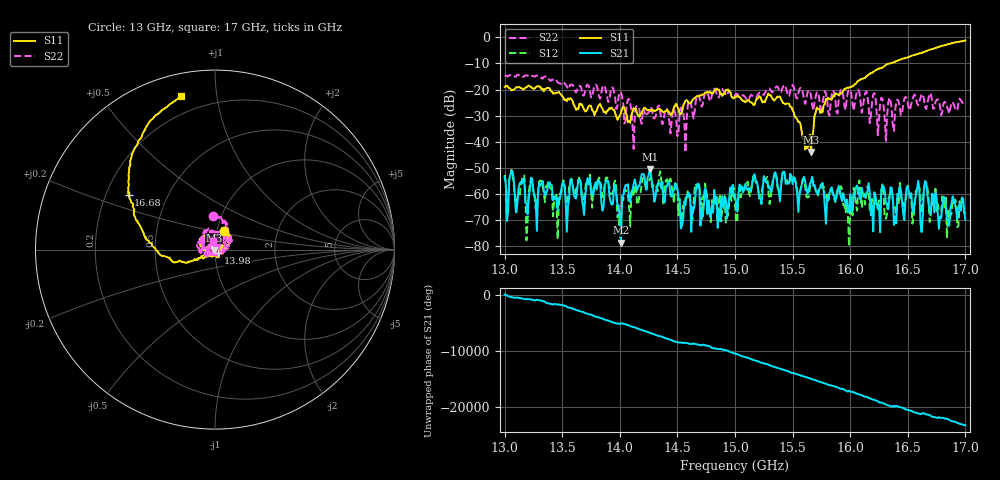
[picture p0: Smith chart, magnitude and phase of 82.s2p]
!Keysight Technologies,P9374A,MY57211807,A.19.30.04
!Date: Friday, May 01, 2026 14:28:51
!Correction: S11(C  2-Port  )
!S21(C  2-Port  )
!S12(C  2-Port  )
!S22(C  2-Port  )
!S2P File: Measurements: S11, S21, S12, S22:
# Hz S  RI  R 50
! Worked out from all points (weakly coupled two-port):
!   401 points, 13 GHz to 17 GHz, reference 50 ohm
!   highest |S21| = -50.67 dB at 14.26 GHz (marker M1); lowest = -78.8 dB at 14.01 GHz (marker M2)
!   lowest |S11| = -43.9 dB at 15.66 GHz (marker M3), VSWR 1.01, Z = 49.4 - j0.192 ohm
!   |S11| at or under -10 dB: start of sweep to 16.34 GHz
!   |S22| runs from -44.1 to -14.3 dB; largest |S21 - S12| = 0.0011
!   S11 on the Smith chart (normalised r, x): 13 GHz: 1.08, +0.22; 13.98 GHz: 1.03, -0.04; 16.68 GHz: 0.30, +0.27; 17 GHz: 0.11, +0.80
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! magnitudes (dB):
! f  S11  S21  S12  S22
! 13 GHz  -18.9  -53.6  -52.8  -14.5
! 13.16 GHz  -20.0  -54.5  -53.4  -15.2
! 13.2 GHz  -18.7  -67.9  -70.4  -14.7
! 13.39 GHz  -19.5  -55.6  -57.5  -16.3
! 13.44 GHz  -21.5  -62.0  -61.3  -15.9
! 13.67 GHz  -25.7  -61.7  -60.1  -20.1
! 13.89 GHz  -28.1  -54.7  -53.7  -22.9
! 13.98 GHz  -31.6  -64.3  -69.1  -26.1
! 14.01 GHz  -29.1  -78.8  -71.8  -21.1
! 14.26 GHz  -28.0  -50.7  -54.3  -28.2
! 14.34 GHz  -27.5  -56.0  -53.8  -26.2
! 14.55 GHz  -26.4  -69.8  -64.5  -28.5
! 14.67 GHz  -22.5  -57.5  -57.7  -22.4
! 15 GHz  -22.7  -60.4  -63.9  -22.2
! 15.38 GHz  -22.8  -58.9  -59.5  -19.9
! 15.66 GHz  -43.9  -55.4  -56.2  -22.4
! 15.67 GHz  -38.4  -53.5  -54.5  -26.0
! 15.91 GHz  -21.6  -58.6  -60.0  -21.2
! 15.97 GHz  -19.3  -62.2  -63.9  -23.6
! 16.34 GHz  -10.0  -62.2  -60.9  -23.2
! 16.68 GHz  -4.9  -63.9  -61.3  -23.2
! 17 GHz  -1.2  -69.9  -67.2  -25.9
